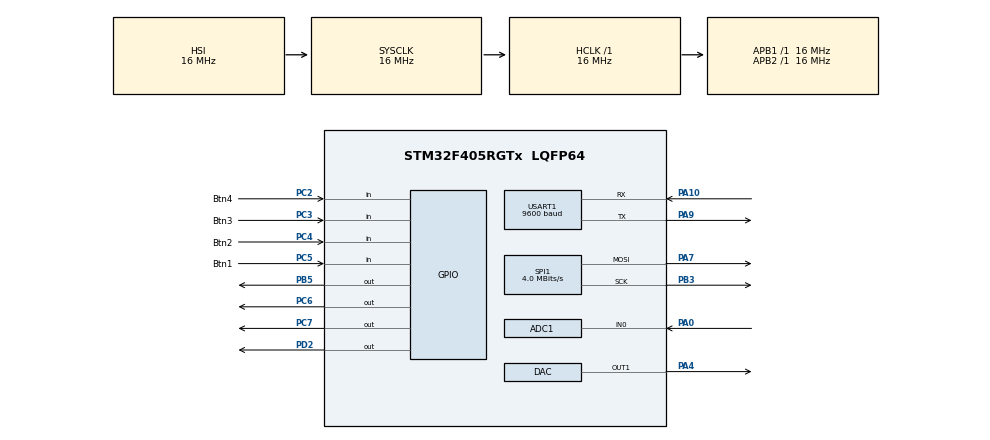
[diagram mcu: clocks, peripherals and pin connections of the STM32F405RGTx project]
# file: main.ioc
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ADC1.Channel-8\#ChannelRegularConversion=ADC_CHANNEL_0
ADC1.ClockPrescaler=ADC_CLOCK_SYNC_PCLK_DIV2
ADC1.ContinuousConvMode=ENABLE
ADC1.DMAContinuousRequests=DISABLE
ADC1.DataAlign=ADC_DATAALIGN_RIGHT
ADC1.DiscontinuousConvMode=DISABLE
ADC1.EOCSelection=ADC_EOC_SEQ_CONV
ADC1.EnableAnalogWatchDog=false
ADC1.ExternalTrigConv=ADC_SOFTWARE_START
ADC1.ExternalTrigConvEdge=ADC_EXTERNALTRIGCONVEDGE_NONE
ADC1.InjNumberOfConversion=0
ADC1.NbrOfConversion=1
ADC1.NbrOfConversionFlag=1
ADC1.Rank-8\#ChannelRegularConversion=1
ADC1.Resolution=ADC_RESOLUTION_12B
ADC1.SamplingTime-8\#ChannelRegularConversion=ADC_SAMPLETIME_3CYCLES
ADC1.ScanConvMode=DISABLE
ADC1.master=1
Mcu.Family=STM32F4
Mcu.Name=STM32F405RGTx
Mcu.Package=LQFP64
NVIC.PriorityGroup=NVIC_PRIORITYGROUP_4
PA0-WKUP.Signal=ADCx_IN0
PA10.Mode=Asynchronous
PA10.Signal=USART1_RX
PA13.Mode=Serial_Wire
PA13.Signal=SYS_JTMS-SWDIO
PA14.Mode=Serial_Wire
PA14.Signal=SYS_JTCK-SWCLK
PA4.Signal=COMP_DAC1_group
PA7.Mode=TX_Only_Simplex_Unidirect_Master
PA7.Signal=SPI1_MOSI
PA9.Mode=Asynchronous
PA9.Signal=USART1_TX
PB3.Mode=TX_Only_Simplex_Unidirect_Master
PB3.Signal=SPI1_SCK
PB5.Signal=GPIO_Output
PC14-OSC32_IN.Mode=LSE-External-Oscillator
PC14-OSC32_IN.Signal=RCC_OSC32_IN
PC15-OSC32_OUT.Mode=LSE-External-Oscillator
PC15-OSC32_OUT.Signal=RCC_OSC32_OUT
PC2.GPIO_Label=Btn4
PC2.Signal=GPIO_Input
PC3.GPIO_Label=Btn3
PC3.Signal=GPIO_Input
PC4.GPIO_Label=Btn2
PC4.Signal=GPIO_Input
PC5.GPIO_Label=Btn1
PC5.Signal=GPIO_Input
PC6.Signal=GPIO_Output
PC7.Signal=GPIO_Output
PD2.Signal=GPIO_Output
PH0-OSC_IN.Mode=HSE-External-Oscillator
PH0-OSC_IN.Signal=RCC_OSC_IN
PH1-OSC_OUT.Mode=HSE-External-Oscillator
PH1-OSC_OUT.Signal=RCC_OSC_OUT
ProjectManager.HeapSize=0x200
ProjectManager.StackSize=0x400
ProjectManager.TargetToolchain=Makefile
RCC.48MHZClocksFreq_Value=48000000
RCC.AHBFreq_Value=16000000
RCC.APB1Freq_Value=16000000
RCC.APB2Freq_Value=16000000
RCC.CortexFreq_Value=16000000
RCC.HSE_VALUE=16000000
RCC.HSI_VALUE=16000000
RCC.PLLSourceVirtual=RCC_PLLSOURCE_HSE
RCC.RCC_RTC_Clock_SourceVirtual=RCC_RTCCLKSOURCE_LSE
RCC.SYSCLKFreq_VALUE=16000000
RCC.VCOOutputFreq_Value=192000000
SH.ADCx_IN0.0=ADC1_IN0,IN0
SH.COMP_DAC1_group.0=DAC_OUT1,DAC_OUT1
SPI1.BaudRatePrescaler=SPI_BAUDRATEPRESCALER_4
SPI1.CalculateBaudRate=4.0 MBits/s
SPI1.Direction=SPI_DIRECTION_2LINES
SPI1.Mode=SPI_MODE_MASTER
SPI1.VirtualType=VM_MASTER
USART1.BaudRate=9600
USART1.VirtualMode=VM_ASYNC
board=main

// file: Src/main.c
#include "main.h"
#include "stm32f4xx_hal.h"

/* USER CODE BEGIN Includes */
/* vim: set ai et ts=4 sw=4: */
#include <string.h>
#include <stdarg.h>
#include <stdbool.h>
#include "st7735.h"

/* USER CODE END Includes */

ADC_HandleTypeDef hadc1;

DAC_HandleTypeDef hdac;

SPI_HandleTypeDef hspi1;

UART_HandleTypeDef huart1;

/* USER CODE BEGIN PV */
/* Private variables ---------------------------------------------------------*/

/* USER CODE END PV */

void SystemClock_Config(void);
static void MX_GPIO_Init(void);
static void MX_USART1_UART_Init(void);
static void MX_SPI1_Init(void);
static void MX_ADC1_Init(void);
static void MX_DAC_Init(void);

/* USER CODE BEGIN PFP */
/* Private function prototypes -----------------------------------------------*/

/* USER CODE END PFP */

/* USER CODE BEGIN 0 */

void UART_Printf(const char* fmt, ...) {
    char buff[256];
    va_list args;
    va_start(args, fmt);
    vsnprintf(buff, sizeof(buff), fmt, args);
    HAL_UART_Transmit(&huart1, (uint8_t*)buff, strlen(buff),
                      HAL_MAX_DELAY);
    va_end(args);
}

void init() {
    ST7735_Init();
    ST7735_FillScreen(ST7735_BLACK);

    HAL_ADC_Start(&hadc1);
    HAL_DAC_Start(&hdac, DAC_CHANNEL_1);
    UART_Printf("Ready!\r\n");

    HAL_Delay(1);
}

void loop() {
    HAL_Delay(100);

    HAL_ADC_PollForConversion(&hadc1, HAL_MAX_DELAY);
    uint32_t adc_val = HAL_ADC_GetValue(&hadc1);

    HAL_DAC_SetValue(&hdac, DAC_CHANNEL_1, DAC_ALIGN_12B_R, adc_val);

    char tmp[128];
    snprintf(tmp, sizeof(tmp), "ADC: %04lu", adc_val); // 0 .. 4095
    ST7735_WriteString(11*0, 18*0, tmp, Font_11x18, ST7735_WHITE, ST7735_BLACK);
}

/* USER CODE END 0 */

int main(void)
{

  /* MCU Configuration----------------------------------------------------------*/

  /* Reset of all peripherals, Initializes the Flash interface and the Systick. */
  HAL_Init();

  /* Configure the system clock */
  SystemClock_Config();

  /* Initialize all configured peripherals */
  MX_GPIO_Init();
  MX_USART1_UART_Init();
  MX_SPI1_Init();
  MX_ADC1_Init();
  MX_DAC_Init();

  /* Infinite loop */
  /* USER CODE BEGIN WHILE */
  init();
  while (1)
  {
    loop();
  /* USER CODE END WHILE */

  }

}

/** System Clock Configuration
*/
void SystemClock_Config(void)
{

  RCC_OscInitTypeDef RCC_OscInitStruct;
  RCC_ClkInitTypeDef RCC_ClkInitStruct;

    /**Configure the main internal regulator output voltage
    */
  __HAL_RCC_PWR_CLK_ENABLE();

  __HAL_PWR_VOLTAGESCALING_CONFIG(PWR_REGULATOR_VOLTAGE_SCALE1);

    /**Initializes the CPU, AHB and APB busses clocks
    */
  RCC_OscInitStruct.OscillatorType = RCC_OSCILLATORTYPE_HSI;
  RCC_OscInitStruct.HSIState = RCC_HSI_ON;
  RCC_OscInitStruct.HSICalibrationValue = 16;
  RCC_OscInitStruct.PLL.PLLState = RCC_PLL_NONE;
  if (HAL_RCC_OscConfig(&RCC_OscInitStruct) != HAL_OK)
  {
    _Error_Handler(__FILE__, __LINE__);
  }

    /**Initializes the CPU, AHB and APB busses clocks
    */
  RCC_ClkInitStruct.ClockType = RCC_CLOCKTYPE_HCLK|RCC_CLOCKTYPE_SYSCLK
                              |RCC_CLOCKTYPE_PCLK1|RCC_CLOCKTYPE_PCLK2;
  RCC_ClkInitStruct.SYSCLKSource = RCC_SYSCLKSOURCE_HSI;
  RCC_ClkInitStruct.AHBCLKDivider = RCC_SYSCLK_DIV1;
  RCC_ClkInitStruct.APB1CLKDivider = RCC_HCLK_DIV1;
  RCC_ClkInitStruct.APB2CLKDivider = RCC_HCLK_DIV1;

  if (HAL_RCC_ClockConfig(&RCC_ClkInitStruct, FLASH_LATENCY_0) != HAL_OK)
  {
    _Error_Handler(__FILE__, __LINE__);
  }

    /**Configure the Systick interrupt time
    */
  HAL_SYSTICK_Config(HAL_RCC_GetHCLKFreq()/1000);

    /**Configure the Systick
    */
  HAL_SYSTICK_CLKSourceConfig(SYSTICK_CLKSOURCE_HCLK);

  /* SysTick_IRQn interrupt configuration */
  HAL_NVIC_SetPriority(SysTick_IRQn, 0, 0);
}

/* ADC1 init function */
static void MX_ADC1_Init(void)
{

  ADC_ChannelConfTypeDef sConfig;

    /**Configure the global features of the ADC (Clock, Resolution, Data Alignment and number of conversion)
    */
  hadc1.Instance = ADC1;
  hadc1.Init.ClockPrescaler = ADC_CLOCK_SYNC_PCLK_DIV2;
  hadc1.Init.Resolution = ADC_RESOLUTION_12B;
  hadc1.Init.ScanConvMode = DISABLE;
  hadc1.Init.ContinuousConvMode = ENABLE;
  hadc1.Init.DiscontinuousConvMode = DISABLE;
  hadc1.Init.ExternalTrigConvEdge = ADC_EXTERNALTRIGCONVEDGE_NONE;
  hadc1.Init.ExternalTrigConv = ADC_SOFTWARE_START;
  hadc1.Init.DataAlign = ADC_DATAALIGN_RIGHT;
  hadc1.Init.NbrOfConversion = 1;
  hadc1.Init.DMAContinuousRequests = DISABLE;
  hadc1.Init.EOCSelection = ADC_EOC_SEQ_CONV;
  if (HAL_ADC_Init(&hadc1) != HAL_OK)
  {
    _Error_Handler(__FILE__, __LINE__);
  }

    /**Configure for the selected ADC regular channel its corresponding rank in the sequencer and its sample time.
    */
  sConfig.Channel = ADC_CHANNEL_0;
  sConfig.Rank = 1;
  sConfig.SamplingTime = ADC_SAMPLETIME_3CYCLES;
  if (HAL_ADC_ConfigChannel(&hadc1, &sConfig) != HAL_OK)
  {
    _Error_Handler(__FILE__, __LINE__);
  }

}

/* DAC init function */
static void MX_DAC_Init(void)
{

  DAC_ChannelConfTypeDef sConfig;

    /**DAC Initialization
    */
  hdac.Instance = DAC;
  if (HAL_DAC_Init(&hdac) != HAL_OK)
  {
    _Error_Handler(__FILE__, __LINE__);
  }

    /**DAC channel OUT1 config
    */
  sConfig.DAC_Trigger = DAC_TRIGGER_NONE;
  sConfig.DAC_OutputBuffer = DAC_OUTPUTBUFFER_ENABLE;
  if (HAL_DAC_ConfigChannel(&hdac, &sConfig, DAC_CHANNEL_1) != HAL_OK)
  {
    _Error_Handler(__FILE__, __LINE__);
  }

}

/* SPI1 init function */
static void MX_SPI1_Init(void)
{

  /* SPI1 parameter configuration*/
  hspi1.Instance = SPI1;
  hspi1.Init.Mode = SPI_MODE_MASTER;
  hspi1.Init.Direction = SPI_DIRECTION_2LINES;
  hspi1.Init.DataSize = SPI_DATASIZE_8BIT;
  hspi1.Init.CLKPolarity = SPI_POLARITY_LOW;
  hspi1.Init.CLKPhase = SPI_PHASE_1EDGE;
  hspi1.Init.NSS = SPI_NSS_SOFT;
  hspi1.Init.BaudRatePrescaler = SPI_BAUDRATEPRESCALER_4;
  hspi1.Init.FirstBit = SPI_FIRSTBIT_MSB;
  hspi1.Init.TIMode = SPI_TIMODE_DISABLE;
  hspi1.Init.CRCCalculation = SPI_CRCCALCULATION_DISABLE;
  hspi1.Init.CRCPolynomial = 10;
  if (HAL_SPI_Init(&hspi1) != HAL_OK)
  {
    _Error_Handler(__FILE__, __LINE__);
  }

}

/* USART1 init function */
static void MX_USART1_UART_Init(void)
{

  huart1.Instance = USART1;
  huart1.Init.BaudRate = 9600;
  huart1.Init.WordLength = UART_WORDLENGTH_8B;
  huart1.Init.StopBits = UART_STOPBITS_1;
  huart1.Init.Parity = UART_PARITY_NONE;
  huart1.Init.Mode = UART_MODE_TX_RX;
  huart1.Init.HwFlowCtl = UART_HWCONTROL_NONE;
  huart1.Init.OverSampling = UART_OVERSAMPLING_16;
  if (HAL_UART_Init(&huart1) != HAL_OK)
  {
    _Error_Handler(__FILE__, __LINE__);
  }

}

/** Configure pins as
        * Analog
        * Input
        * Output
        * EVENT_OUT
        * EXTI
*/
static void MX_GPIO_Init(void)
{

  GPIO_InitTypeDef GPIO_InitStruct;

  /* GPIO Ports Clock Enable */
  __HAL_RCC_GPIOC_CLK_ENABLE();
  __HAL_RCC_GPIOH_CLK_ENABLE();
  __HAL_RCC_GPIOA_CLK_ENABLE();
  __HAL_RCC_GPIOD_CLK_ENABLE();
  __HAL_RCC_GPIOB_CLK_ENABLE();

  /*Configure GPIO pin Output Level */
  HAL_GPIO_WritePin(GPIOC, GPIO_PIN_6|GPIO_PIN_7, GPIO_PIN_RESET);

  /*Configure GPIO pin Output Level */
  HAL_GPIO_WritePin(GPIOD, GPIO_PIN_2, GPIO_PIN_RESET);

  /*Configure GPIO pin Output Level */
  HAL_GPIO_WritePin(GPIOB, GPIO_PIN_5, GPIO_PIN_RESET);

  /*Configure GPIO pins : Btn4_Pin Btn3_Pin Btn2_Pin Btn1_Pin */
  GPIO_InitStruct.Pin = Btn4_Pin|Btn3_Pin|Btn2_Pin|Btn1_Pin;
  GPIO_InitStruct.Mode = GPIO_MODE_INPUT;
  GPIO_InitStruct.Pull = GPIO_NOPULL;
  HAL_GPIO_Init(GPIOC, &GPIO_InitStruct);

  /*Configure GPIO pins : PC6 PC7 */
  GPIO_InitStruct.Pin = GPIO_PIN_6|GPIO_PIN_7;
  GPIO_InitStruct.Mode = GPIO_MODE_OUTPUT_PP;
  GPIO_InitStruct.Pull = GPIO_NOPULL;
  GPIO_InitStruct.Speed = GPIO_SPEED_FREQ_LOW;
  HAL_GPIO_Init(GPIOC, &GPIO_InitStruct);

  /*Configure GPIO pin : PD2 */
  GPIO_InitStruct.Pin = GPIO_PIN_2;
  GPIO_InitStruct.Mode = GPIO_MODE_OUTPUT_PP;
  GPIO_InitStruct.Pull = GPIO_NOPULL;
  GPIO_InitStruct.Speed = GPIO_SPEED_FREQ_LOW;
  HAL_GPIO_Init(GPIOD, &GPIO_InitStruct);

  /*Configure GPIO pin : PB5 */
  GPIO_InitStruct.Pin = GPIO_PIN_5;
  GPIO_InitStruct.Mode = GPIO_MODE_OUTPUT_PP;
  GPIO_InitStruct.Pull = GPIO_NOPULL;
  GPIO_InitStruct.Speed = GPIO_SPEED_FREQ_LOW;
  HAL_GPIO_Init(GPIOB, &GPIO_InitStruct);

}

void _Error_Handler(char * file, int line)
{
  while(1)
  {
  }
}

/************************ (C) COPYRIGHT STMicroelectronics *****END OF FILE****/
